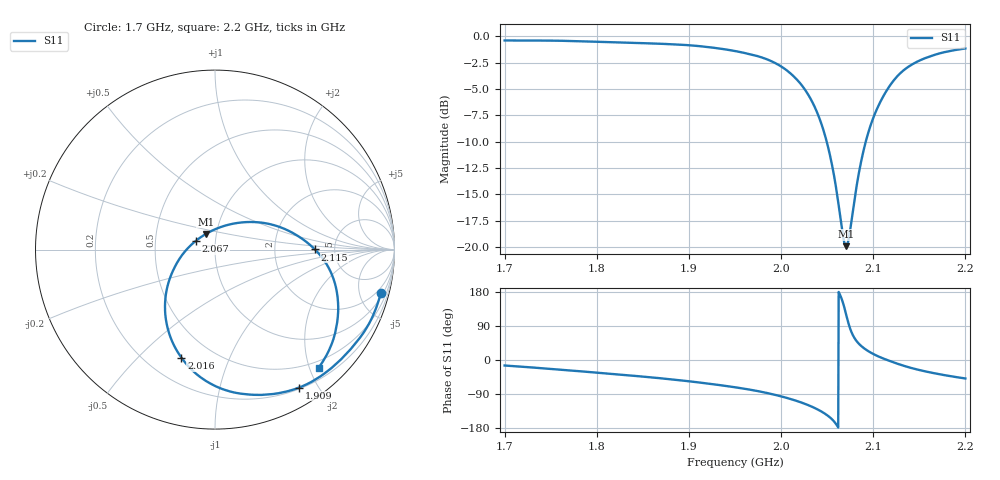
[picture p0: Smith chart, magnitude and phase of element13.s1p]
# Hz S RI R 50
! CMT, CMT808U, 21440046, 21.4.3/4
! Date: 12/1/2025 1:51:25 PM
! Data: Format (Calibration Info)
! Freq	S11:Re/Im(F2)
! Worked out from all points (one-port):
!   1001 points, 1.7 GHz to 2.2 GHz, reference 50 ohm
!   lowest |S11| = -19.9 dB at 2.071 GHz (marker M1), VSWR 1.22, Z = 44.4 + j7.77 ohm
!   |S11| at or under -10 dB: 2.05 GHz to 2.092 GHz (42.38 MHz wide, 2.05 % of centre)
!   S11 on the Smith chart (normalised r, x): 1.7 GHz: 1.37, -7.59; 1.909 GHz: 0.22, -1.76; 2.016 GHz: 0.34, -0.68; 2.067 GHz: 0.80, +0.08; 2.115 GHz: 3.51, +0.01; 2.2 GHz: 0.38, -2.15
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1.7e9  0.9249 -0.24
1.7625e9  0.8565 -0.4155
1.825e9  0.7314 -0.5816
1.8875e9  0.5531 -0.7279
1.909e9  0.4675 -0.7691
1.95e9  0.2638 -0.8094
1.9705e9  0.1396 -0.802
1.9855e9  0.0341 -0.7743
1.9995e9  -0.0706 -0.7184
2.0125e9  -0.164 -0.632
2.016e9  -0.1866 -0.6025
2.033e9  -0.2686 -0.417
2.046e9  -0.2712 -0.234
2.0565e9  -0.2154 -0.0806
2.0665e9  -0.1076 0.048
2.0685e9  -0.0804 0.0683
2.0705e9  -0.0519 0.0865
2.0725e9  -0.0223 0.1026
2.075e9  0.0159 0.1196
2.084e9  0.1579 0.1521
2.092e9  0.2817 0.1469
2.102e9  0.4191 0.1004
2.115e9  0.5566 0.00099
2.126e9  0.6365 -0.1077
2.1375e9  0.677 -0.2261
2.151e9  0.686 -0.3498
2.169e9  0.6636 -0.4863
2.2e9  0.5771 -0.6586
